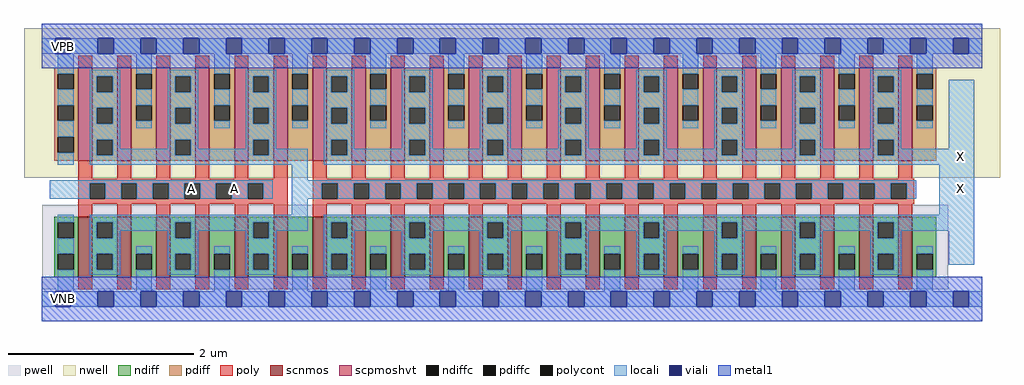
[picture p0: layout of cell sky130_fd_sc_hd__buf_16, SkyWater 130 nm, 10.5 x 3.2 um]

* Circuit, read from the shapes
.subckt sky130_fd_sc_hd__buf_16 VNB VPB VGND VPWR A X
XM1 n1 A VGND VNB sky130_fd_pr__nfet_01v8 w=0.65 l=0.15 m=6
XM2 X n1 VGND VNB sky130_fd_pr__nfet_01v8 w=0.65 l=0.15 m=16
XM3 n1 A VPWR VPB sky130_fd_pr__pfet_01v8_hvt w=1 l=0.15 m=6
XM4 X n1 VPWR VPB sky130_fd_pr__pfet_01v8_hvt w=1 l=0.15 m=16
.ends

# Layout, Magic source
magic
tech sky130A
magscale 1 2
<< nwell >>
rect -38 261 2062 582
<< pwell >>
rect 1 21 1951 203
rect 30 -17 64 21
<< scnmos >>
rect 79 47 109 177
rect 163 47 193 177
rect 247 47 277 177
rect 331 47 361 177
rect 415 47 445 177
rect 499 47 529 177
rect 583 47 613 177
rect 667 47 697 177
rect 751 47 781 177
rect 835 47 865 177
rect 919 47 949 177
rect 1003 47 1033 177
rect 1087 47 1117 177
rect 1171 47 1201 177
rect 1255 47 1285 177
rect 1339 47 1369 177
rect 1423 47 1453 177
rect 1507 47 1537 177
rect 1591 47 1621 177
rect 1675 47 1705 177
rect 1759 47 1789 177
rect 1843 47 1873 177
<< scpmoshvt >>
rect 79 297 109 497
rect 163 297 193 497
rect 247 297 277 497
rect 331 297 361 497
rect 415 297 445 497
rect 499 297 529 497
rect 583 297 613 497
rect 667 297 697 497
rect 751 297 781 497
rect 835 297 865 497
rect 919 297 949 497
rect 1003 297 1033 497
rect 1087 297 1117 497
rect 1171 297 1201 497
rect 1255 297 1285 497
rect 1339 297 1369 497
rect 1423 297 1453 497
rect 1507 297 1537 497
rect 1591 297 1621 497
rect 1675 297 1705 497
rect 1759 297 1789 497
rect 1843 297 1873 497
<< ndiff >>
rect 27 165 79 177
rect 27 131 35 165
rect 69 131 79 165
rect 27 97 79 131
rect 27 63 35 97
rect 69 63 79 97
rect 27 47 79 63
rect 109 165 163 177
rect 109 131 119 165
rect 153 131 163 165
rect 109 97 163 131
rect 109 63 119 97
rect 153 63 163 97
rect 109 47 163 63
rect 193 97 247 177
rect 193 63 203 97
rect 237 63 247 97
rect 193 47 247 63
rect 277 165 331 177
rect 277 131 287 165
rect 321 131 331 165
rect 277 97 331 131
rect 277 63 287 97
rect 321 63 331 97
rect 277 47 331 63
rect 361 97 415 177
rect 361 63 371 97
rect 405 63 415 97
rect 361 47 415 63
rect 445 165 499 177
rect 445 131 455 165
rect 489 131 499 165
rect 445 97 499 131
rect 445 63 455 97
rect 489 63 499 97
rect 445 47 499 63
rect 529 97 583 177
rect 529 63 539 97
rect 573 63 583 97
rect 529 47 583 63
rect 613 165 667 177
rect 613 131 623 165
rect 657 131 667 165
rect 613 97 667 131
rect 613 63 623 97
rect 657 63 667 97
rect 613 47 667 63
rect 697 97 751 177
rect 697 63 707 97
rect 741 63 751 97
rect 697 47 751 63
rect 781 165 835 177
rect 781 131 791 165
rect 825 131 835 165
rect 781 97 835 131
rect 781 63 791 97
rect 825 63 835 97
rect 781 47 835 63
rect 865 97 919 177
rect 865 63 875 97
rect 909 63 919 97
rect 865 47 919 63
rect 949 165 1003 177
rect 949 131 959 165
rect 993 131 1003 165
rect 949 97 1003 131
rect 949 63 959 97
rect 993 63 1003 97
rect 949 47 1003 63
rect 1033 97 1087 177
rect 1033 63 1043 97
rect 1077 63 1087 97
rect 1033 47 1087 63
rect 1117 165 1171 177
rect 1117 131 1127 165
rect 1161 131 1171 165
rect 1117 97 1171 131
rect 1117 63 1127 97
rect 1161 63 1171 97
rect 1117 47 1171 63
rect 1201 97 1255 177
rect 1201 63 1211 97
rect 1245 63 1255 97
rect 1201 47 1255 63
rect 1285 165 1339 177
rect 1285 131 1295 165
rect 1329 131 1339 165
rect 1285 97 1339 131
rect 1285 63 1295 97
rect 1329 63 1339 97
rect 1285 47 1339 63
rect 1369 97 1423 177
rect 1369 63 1379 97
rect 1413 63 1423 97
rect 1369 47 1423 63
rect 1453 165 1507 177
rect 1453 131 1463 165
rect 1497 131 1507 165
rect 1453 97 1507 131
rect 1453 63 1463 97
rect 1497 63 1507 97
rect 1453 47 1507 63
rect 1537 97 1591 177
rect 1537 63 1547 97
rect 1581 63 1591 97
rect 1537 47 1591 63
rect 1621 165 1675 177
rect 1621 131 1631 165
rect 1665 131 1675 165
rect 1621 97 1675 131
rect 1621 63 1631 97
rect 1665 63 1675 97
rect 1621 47 1675 63
rect 1705 97 1759 177
rect 1705 63 1715 97
rect 1749 63 1759 97
rect 1705 47 1759 63
rect 1789 165 1843 177
rect 1789 131 1799 165
rect 1833 131 1843 165
rect 1789 97 1843 131
rect 1789 63 1799 97
rect 1833 63 1843 97
rect 1789 47 1843 63
rect 1873 97 1925 177
rect 1873 63 1883 97
rect 1917 63 1925 97
rect 1873 47 1925 63
<< pdiff >>
rect 27 485 79 497
rect 27 451 35 485
rect 69 451 79 485
rect 27 417 79 451
rect 27 383 35 417
rect 69 383 79 417
rect 27 349 79 383
rect 27 315 35 349
rect 69 315 79 349
rect 27 297 79 315
rect 109 479 163 497
rect 109 445 119 479
rect 153 445 163 479
rect 109 411 163 445
rect 109 377 119 411
rect 153 377 163 411
rect 109 343 163 377
rect 109 309 119 343
rect 153 309 163 343
rect 109 297 163 309
rect 193 485 247 497
rect 193 451 203 485
rect 237 451 247 485
rect 193 417 247 451
rect 193 383 203 417
rect 237 383 247 417
rect 193 297 247 383
rect 277 479 331 497
rect 277 445 287 479
rect 321 445 331 479
rect 277 411 331 445
rect 277 377 287 411
rect 321 377 331 411
rect 277 343 331 377
rect 277 309 287 343
rect 321 309 331 343
rect 277 297 331 309
rect 361 485 415 497
rect 361 451 371 485
rect 405 451 415 485
rect 361 417 415 451
rect 361 383 371 417
rect 405 383 415 417
rect 361 297 415 383
rect 445 479 499 497
rect 445 445 455 479
rect 489 445 499 479
rect 445 411 499 445
rect 445 377 455 411
rect 489 377 499 411
rect 445 343 499 377
rect 445 309 455 343
rect 489 309 499 343
rect 445 297 499 309
rect 529 485 583 497
rect 529 451 539 485
rect 573 451 583 485
rect 529 417 583 451
rect 529 383 539 417
rect 573 383 583 417
rect 529 297 583 383
rect 613 479 667 497
rect 613 445 623 479
rect 657 445 667 479
rect 613 411 667 445
rect 613 377 623 411
rect 657 377 667 411
rect 613 343 667 377
rect 613 309 623 343
rect 657 309 667 343
rect 613 297 667 309
rect 697 485 751 497
rect 697 451 707 485
rect 741 451 751 485
rect 697 417 751 451
rect 697 383 707 417
rect 741 383 751 417
rect 697 297 751 383
rect 781 479 835 497
rect 781 445 791 479
rect 825 445 835 479
rect 781 411 835 445
rect 781 377 791 411
rect 825 377 835 411
rect 781 343 835 377
rect 781 309 791 343
rect 825 309 835 343
rect 781 297 835 309
rect 865 485 919 497
rect 865 451 875 485
rect 909 451 919 485
rect 865 417 919 451
rect 865 383 875 417
rect 909 383 919 417
rect 865 297 919 383
rect 949 479 1003 497
rect 949 445 959 479
rect 993 445 1003 479
rect 949 411 1003 445
rect 949 377 959 411
rect 993 377 1003 411
rect 949 343 1003 377
rect 949 309 959 343
rect 993 309 1003 343
rect 949 297 1003 309
rect 1033 485 1087 497
rect 1033 451 1043 485
rect 1077 451 1087 485
rect 1033 417 1087 451
rect 1033 383 1043 417
rect 1077 383 1087 417
rect 1033 297 1087 383
rect 1117 479 1171 497
rect 1117 445 1127 479
rect 1161 445 1171 479
rect 1117 411 1171 445
rect 1117 377 1127 411
rect 1161 377 1171 411
rect 1117 343 1171 377
rect 1117 309 1127 343
rect 1161 309 1171 343
rect 1117 297 1171 309
rect 1201 485 1255 497
rect 1201 451 1211 485
rect 1245 451 1255 485
rect 1201 417 1255 451
rect 1201 383 1211 417
rect 1245 383 1255 417
rect 1201 297 1255 383
rect 1285 479 1339 497
rect 1285 445 1295 479
rect 1329 445 1339 479
rect 1285 411 1339 445
rect 1285 377 1295 411
rect 1329 377 1339 411
rect 1285 343 1339 377
rect 1285 309 1295 343
rect 1329 309 1339 343
rect 1285 297 1339 309
rect 1369 485 1423 497
rect 1369 451 1379 485
rect 1413 451 1423 485
rect 1369 417 1423 451
rect 1369 383 1379 417
rect 1413 383 1423 417
rect 1369 297 1423 383
rect 1453 479 1507 497
rect 1453 445 1463 479
rect 1497 445 1507 479
rect 1453 411 1507 445
rect 1453 377 1463 411
rect 1497 377 1507 411
rect 1453 343 1507 377
rect 1453 309 1463 343
rect 1497 309 1507 343
rect 1453 297 1507 309
rect 1537 485 1591 497
rect 1537 451 1547 485
rect 1581 451 1591 485
rect 1537 417 1591 451
rect 1537 383 1547 417
rect 1581 383 1591 417
rect 1537 297 1591 383
rect 1621 479 1675 497
rect 1621 445 1631 479
rect 1665 445 1675 479
rect 1621 411 1675 445
rect 1621 377 1631 411
rect 1665 377 1675 411
rect 1621 343 1675 377
rect 1621 309 1631 343
rect 1665 309 1675 343
rect 1621 297 1675 309
rect 1705 485 1759 497
rect 1705 451 1715 485
rect 1749 451 1759 485
rect 1705 417 1759 451
rect 1705 383 1715 417
rect 1749 383 1759 417
rect 1705 297 1759 383
rect 1789 479 1843 497
rect 1789 445 1799 479
rect 1833 445 1843 479
rect 1789 411 1843 445
rect 1789 377 1799 411
rect 1833 377 1843 411
rect 1789 343 1843 377
rect 1789 309 1799 343
rect 1833 309 1843 343
rect 1789 297 1843 309
rect 1873 485 1925 497
rect 1873 451 1883 485
rect 1917 451 1925 485
rect 1873 417 1925 451
rect 1873 383 1883 417
rect 1917 383 1925 417
rect 1873 297 1925 383
<< ndiffc >>
rect 35 131 69 165
rect 35 63 69 97
rect 119 131 153 165
rect 119 63 153 97
rect 203 63 237 97
rect 287 131 321 165
rect 287 63 321 97
rect 371 63 405 97
rect 455 131 489 165
rect 455 63 489 97
rect 539 63 573 97
rect 623 131 657 165
rect 623 63 657 97
rect 707 63 741 97
rect 791 131 825 165
rect 791 63 825 97
rect 875 63 909 97
rect 959 131 993 165
rect 959 63 993 97
rect 1043 63 1077 97
rect 1127 131 1161 165
rect 1127 63 1161 97
rect 1211 63 1245 97
rect 1295 131 1329 165
rect 1295 63 1329 97
rect 1379 63 1413 97
rect 1463 131 1497 165
rect 1463 63 1497 97
rect 1547 63 1581 97
rect 1631 131 1665 165
rect 1631 63 1665 97
rect 1715 63 1749 97
rect 1799 131 1833 165
rect 1799 63 1833 97
rect 1883 63 1917 97
<< pdiffc >>
rect 35 451 69 485
rect 35 383 69 417
rect 35 315 69 349
rect 119 445 153 479
rect 119 377 153 411
rect 119 309 153 343
rect 203 451 237 485
rect 203 383 237 417
rect 287 445 321 479
rect 287 377 321 411
rect 287 309 321 343
rect 371 451 405 485
rect 371 383 405 417
rect 455 445 489 479
rect 455 377 489 411
rect 455 309 489 343
rect 539 451 573 485
rect 539 383 573 417
rect 623 445 657 479
rect 623 377 657 411
rect 623 309 657 343
rect 707 451 741 485
rect 707 383 741 417
rect 791 445 825 479
rect 791 377 825 411
rect 791 309 825 343
rect 875 451 909 485
rect 875 383 909 417
rect 959 445 993 479
rect 959 377 993 411
rect 959 309 993 343
rect 1043 451 1077 485
rect 1043 383 1077 417
rect 1127 445 1161 479
rect 1127 377 1161 411
rect 1127 309 1161 343
rect 1211 451 1245 485
rect 1211 383 1245 417
rect 1295 445 1329 479
rect 1295 377 1329 411
rect 1295 309 1329 343
rect 1379 451 1413 485
rect 1379 383 1413 417
rect 1463 445 1497 479
rect 1463 377 1497 411
rect 1463 309 1497 343
rect 1547 451 1581 485
rect 1547 383 1581 417
rect 1631 445 1665 479
rect 1631 377 1665 411
rect 1631 309 1665 343
rect 1715 451 1749 485
rect 1715 383 1749 417
rect 1799 445 1833 479
rect 1799 377 1833 411
rect 1799 309 1833 343
rect 1883 451 1917 485
rect 1883 383 1917 417
<< poly >>
rect 79 497 109 523
rect 163 497 193 523
rect 247 497 277 523
rect 331 497 361 523
rect 415 497 445 523
rect 499 497 529 523
rect 583 497 613 523
rect 667 497 697 523
rect 751 497 781 523
rect 835 497 865 523
rect 919 497 949 523
rect 1003 497 1033 523
rect 1087 497 1117 523
rect 1171 497 1201 523
rect 1255 497 1285 523
rect 1339 497 1369 523
rect 1423 497 1453 523
rect 1507 497 1537 523
rect 1591 497 1621 523
rect 1675 497 1705 523
rect 1759 497 1789 523
rect 1843 497 1873 523
rect 79 259 109 297
rect 163 259 193 297
rect 247 259 277 297
rect 331 259 361 297
rect 415 259 445 297
rect 499 259 529 297
rect 79 249 529 259
rect 79 215 103 249
rect 137 215 171 249
rect 205 215 239 249
rect 273 215 307 249
rect 341 215 375 249
rect 409 215 443 249
rect 477 215 529 249
rect 79 205 529 215
rect 79 177 109 205
rect 163 177 193 205
rect 247 177 277 205
rect 331 177 361 205
rect 415 177 445 205
rect 499 177 529 205
rect 583 259 613 297
rect 667 259 697 297
rect 751 259 781 297
rect 835 259 865 297
rect 919 259 949 297
rect 1003 259 1033 297
rect 1087 259 1117 297
rect 1171 259 1201 297
rect 1255 259 1285 297
rect 1339 259 1369 297
rect 1423 259 1453 297
rect 1507 259 1537 297
rect 1591 259 1621 297
rect 1675 259 1705 297
rect 1759 259 1789 297
rect 1843 259 1873 297
rect 583 249 1877 259
rect 583 215 603 249
rect 637 215 671 249
rect 705 215 739 249
rect 773 215 807 249
rect 841 215 875 249
rect 909 215 943 249
rect 977 215 1011 249
rect 1045 215 1079 249
rect 1113 215 1147 249
rect 1181 215 1215 249
rect 1249 215 1283 249
rect 1317 215 1351 249
rect 1385 215 1419 249
rect 1453 215 1487 249
rect 1521 215 1555 249
rect 1589 215 1623 249
rect 1657 215 1691 249
rect 1725 215 1759 249
rect 1793 215 1827 249
rect 1861 215 1877 249
rect 583 205 1877 215
rect 583 177 613 205
rect 667 177 697 205
rect 751 177 781 205
rect 835 177 865 205
rect 919 177 949 205
rect 1003 177 1033 205
rect 1087 177 1117 205
rect 1171 177 1201 205
rect 1255 177 1285 205
rect 1339 177 1369 205
rect 1423 177 1453 205
rect 1507 177 1537 205
rect 1591 177 1621 205
rect 1675 177 1705 205
rect 1759 177 1789 205
rect 1843 177 1873 205
rect 79 21 109 47
rect 163 21 193 47
rect 247 21 277 47
rect 331 21 361 47
rect 415 21 445 47
rect 499 21 529 47
rect 583 21 613 47
rect 667 21 697 47
rect 751 21 781 47
rect 835 21 865 47
rect 919 21 949 47
rect 1003 21 1033 47
rect 1087 21 1117 47
rect 1171 21 1201 47
rect 1255 21 1285 47
rect 1339 21 1369 47
rect 1423 21 1453 47
rect 1507 21 1537 47
rect 1591 21 1621 47
rect 1675 21 1705 47
rect 1759 21 1789 47
rect 1843 21 1873 47
<< polycont >>
rect 103 215 137 249
rect 171 215 205 249
rect 239 215 273 249
rect 307 215 341 249
rect 375 215 409 249
rect 443 215 477 249
rect 603 215 637 249
rect 671 215 705 249
rect 739 215 773 249
rect 807 215 841 249
rect 875 215 909 249
rect 943 215 977 249
rect 1011 215 1045 249
rect 1079 215 1113 249
rect 1147 215 1181 249
rect 1215 215 1249 249
rect 1283 215 1317 249
rect 1351 215 1385 249
rect 1419 215 1453 249
rect 1487 215 1521 249
rect 1555 215 1589 249
rect 1623 215 1657 249
rect 1691 215 1725 249
rect 1759 215 1793 249
rect 1827 215 1861 249
<< locali >>
rect 0 527 29 561
rect 63 527 121 561
rect 155 527 213 561
rect 247 527 305 561
rect 339 527 397 561
rect 431 527 489 561
rect 523 527 581 561
rect 615 527 673 561
rect 707 527 765 561
rect 799 527 857 561
rect 891 527 949 561
rect 983 527 1041 561
rect 1075 527 1133 561
rect 1167 527 1225 561
rect 1259 527 1317 561
rect 1351 527 1409 561
rect 1443 527 1501 561
rect 1535 527 1593 561
rect 1627 527 1685 561
rect 1719 527 1777 561
rect 1811 527 1869 561
rect 1903 527 1961 561
rect 1995 527 2024 561
rect 35 485 69 527
rect 35 417 69 451
rect 35 349 69 383
rect 35 289 69 315
rect 103 479 169 493
rect 103 445 119 479
rect 153 445 169 479
rect 103 411 169 445
rect 103 377 119 411
rect 153 377 169 411
rect 103 343 169 377
rect 203 485 237 527
rect 203 417 237 451
rect 203 367 237 383
rect 271 479 337 493
rect 271 445 287 479
rect 321 445 337 479
rect 271 411 337 445
rect 271 377 287 411
rect 321 377 337 411
rect 103 309 119 343
rect 153 323 169 343
rect 271 343 337 377
rect 371 485 405 527
rect 371 417 405 451
rect 371 367 405 383
rect 439 479 505 493
rect 439 445 455 479
rect 489 445 505 479
rect 439 411 505 445
rect 439 377 455 411
rect 489 377 505 411
rect 271 323 287 343
rect 153 309 287 323
rect 321 323 337 343
rect 439 343 505 377
rect 539 485 573 527
rect 539 417 573 451
rect 539 367 573 383
rect 607 479 673 493
rect 607 445 623 479
rect 657 445 673 479
rect 607 411 673 445
rect 607 377 623 411
rect 657 377 673 411
rect 439 323 455 343
rect 321 309 455 323
rect 489 323 505 343
rect 607 343 673 377
rect 707 485 741 527
rect 707 417 741 451
rect 707 367 741 383
rect 775 479 841 493
rect 775 445 791 479
rect 825 445 841 479
rect 775 411 841 445
rect 775 377 791 411
rect 825 377 841 411
rect 489 309 573 323
rect 103 289 573 309
rect 607 309 623 343
rect 657 323 673 343
rect 775 343 841 377
rect 875 485 909 527
rect 875 417 909 451
rect 875 367 909 383
rect 943 479 1009 493
rect 943 445 959 479
rect 993 445 1009 479
rect 943 411 1009 445
rect 943 377 959 411
rect 993 377 1009 411
rect 775 323 791 343
rect 657 309 791 323
rect 825 323 841 343
rect 943 343 1009 377
rect 1043 485 1077 527
rect 1043 417 1077 451
rect 1043 367 1077 383
rect 1111 479 1177 493
rect 1111 445 1127 479
rect 1161 445 1177 479
rect 1111 411 1177 445
rect 1111 377 1127 411
rect 1161 377 1177 411
rect 943 323 959 343
rect 825 309 959 323
rect 993 323 1009 343
rect 1111 343 1177 377
rect 1211 485 1245 527
rect 1211 417 1245 451
rect 1211 367 1245 383
rect 1279 479 1345 493
rect 1279 445 1295 479
rect 1329 445 1345 479
rect 1279 411 1345 445
rect 1279 377 1295 411
rect 1329 377 1345 411
rect 1111 323 1127 343
rect 993 309 1127 323
rect 1161 323 1177 343
rect 1279 343 1345 377
rect 1379 485 1413 527
rect 1379 417 1413 451
rect 1379 367 1413 383
rect 1447 479 1513 493
rect 1447 445 1463 479
rect 1497 445 1513 479
rect 1447 411 1513 445
rect 1447 377 1463 411
rect 1497 377 1513 411
rect 1279 323 1295 343
rect 1161 309 1295 323
rect 1329 323 1345 343
rect 1447 343 1513 377
rect 1547 485 1581 527
rect 1547 417 1581 451
rect 1547 367 1581 383
rect 1615 479 1681 493
rect 1615 445 1631 479
rect 1665 445 1681 479
rect 1615 411 1681 445
rect 1615 377 1631 411
rect 1665 377 1681 411
rect 1447 323 1463 343
rect 1329 309 1463 323
rect 1497 323 1513 343
rect 1615 343 1681 377
rect 1715 485 1749 527
rect 1715 417 1749 451
rect 1715 367 1749 383
rect 1783 479 1849 493
rect 1783 445 1799 479
rect 1833 445 1849 479
rect 1783 411 1849 445
rect 1783 377 1799 411
rect 1833 377 1849 411
rect 1615 323 1631 343
rect 1497 309 1631 323
rect 1665 323 1681 343
rect 1783 343 1849 377
rect 1883 485 1917 527
rect 1883 417 1917 451
rect 1883 367 1917 383
rect 1783 323 1799 343
rect 1665 309 1799 323
rect 1833 323 1849 343
rect 1952 323 2007 472
rect 1833 309 2007 323
rect 607 289 2007 309
rect 538 255 573 289
rect 17 249 497 255
rect 17 215 103 249
rect 137 215 171 249
rect 205 215 239 249
rect 273 215 307 249
rect 341 215 375 249
rect 409 215 443 249
rect 477 215 497 249
rect 538 249 1882 255
rect 538 215 603 249
rect 637 215 671 249
rect 705 215 739 249
rect 773 215 807 249
rect 841 215 875 249
rect 909 215 943 249
rect 977 215 1011 249
rect 1045 215 1079 249
rect 1113 215 1147 249
rect 1181 215 1215 249
rect 1249 215 1283 249
rect 1317 215 1351 249
rect 1385 215 1419 249
rect 1453 215 1487 249
rect 1521 215 1555 249
rect 1589 215 1623 249
rect 1657 215 1691 249
rect 1725 215 1759 249
rect 1793 215 1827 249
rect 1861 215 1882 249
rect 538 181 573 215
rect 1931 181 2007 289
rect 35 165 69 181
rect 35 97 69 131
rect 35 17 69 63
rect 103 165 573 181
rect 103 131 119 165
rect 153 147 287 165
rect 153 131 169 147
rect 103 97 169 131
rect 271 131 287 147
rect 321 147 455 165
rect 321 131 337 147
rect 103 63 119 97
rect 153 63 169 97
rect 103 52 169 63
rect 203 97 237 113
rect 203 17 237 63
rect 271 97 337 131
rect 439 131 455 147
rect 489 147 573 165
rect 607 165 2007 181
rect 489 131 505 147
rect 271 63 287 97
rect 321 63 337 97
rect 271 52 337 63
rect 371 97 405 113
rect 371 17 405 63
rect 439 97 505 131
rect 607 131 623 165
rect 657 147 791 165
rect 657 131 673 147
rect 439 63 455 97
rect 489 63 505 97
rect 439 52 505 63
rect 539 97 573 113
rect 539 17 573 63
rect 607 97 673 131
rect 775 131 791 147
rect 825 147 959 165
rect 825 131 841 147
rect 607 63 623 97
rect 657 63 673 97
rect 607 52 673 63
rect 707 97 741 113
rect 607 51 657 52
rect 707 17 741 63
rect 775 97 841 131
rect 943 131 959 147
rect 993 147 1127 165
rect 993 131 1009 147
rect 775 63 791 97
rect 825 63 841 97
rect 775 52 841 63
rect 875 97 909 113
rect 791 51 825 52
rect 875 17 909 63
rect 943 97 1009 131
rect 1111 131 1127 147
rect 1161 147 1295 165
rect 1161 131 1177 147
rect 943 63 959 97
rect 993 63 1009 97
rect 943 52 1009 63
rect 1043 97 1077 113
rect 959 51 993 52
rect 1043 17 1077 63
rect 1111 97 1177 131
rect 1279 131 1295 147
rect 1329 147 1463 165
rect 1329 131 1345 147
rect 1111 63 1127 97
rect 1161 63 1177 97
rect 1111 52 1177 63
rect 1211 97 1245 113
rect 1211 17 1245 63
rect 1279 97 1345 131
rect 1447 131 1463 147
rect 1497 147 1631 165
rect 1497 131 1513 147
rect 1279 63 1295 97
rect 1329 63 1345 97
rect 1279 52 1345 63
rect 1379 97 1413 113
rect 1379 17 1413 63
rect 1447 97 1513 131
rect 1615 131 1631 147
rect 1665 147 1799 165
rect 1665 131 1681 147
rect 1447 63 1463 97
rect 1497 63 1513 97
rect 1447 52 1513 63
rect 1547 97 1581 113
rect 1547 17 1581 63
rect 1615 97 1681 131
rect 1783 131 1799 147
rect 1833 147 2007 165
rect 1833 131 1849 147
rect 1615 63 1631 97
rect 1665 63 1681 97
rect 1615 52 1681 63
rect 1715 97 1749 113
rect 1715 17 1749 63
rect 1783 97 1849 131
rect 1783 63 1799 97
rect 1833 63 1849 97
rect 1783 52 1849 63
rect 1883 97 1917 113
rect 1952 73 2007 147
rect 1883 17 1917 63
rect 0 -17 29 17
rect 63 -17 121 17
rect 155 -17 213 17
rect 247 -17 305 17
rect 339 -17 397 17
rect 431 -17 489 17
rect 523 -17 581 17
rect 615 -17 673 17
rect 707 -17 765 17
rect 799 -17 857 17
rect 891 -17 949 17
rect 983 -17 1041 17
rect 1075 -17 1133 17
rect 1167 -17 1225 17
rect 1259 -17 1317 17
rect 1351 -17 1409 17
rect 1443 -17 1501 17
rect 1535 -17 1593 17
rect 1627 -17 1685 17
rect 1719 -17 1777 17
rect 1811 -17 1869 17
rect 1903 -17 1961 17
rect 1995 -17 2024 17
<< viali >>
rect 29 527 63 561
rect 121 527 155 561
rect 213 527 247 561
rect 305 527 339 561
rect 397 527 431 561
rect 489 527 523 561
rect 581 527 615 561
rect 673 527 707 561
rect 765 527 799 561
rect 857 527 891 561
rect 949 527 983 561
rect 1041 527 1075 561
rect 1133 527 1167 561
rect 1225 527 1259 561
rect 1317 527 1351 561
rect 1409 527 1443 561
rect 1501 527 1535 561
rect 1593 527 1627 561
rect 1685 527 1719 561
rect 1777 527 1811 561
rect 1869 527 1903 561
rect 1961 527 1995 561
rect 29 -17 63 17
rect 121 -17 155 17
rect 213 -17 247 17
rect 305 -17 339 17
rect 397 -17 431 17
rect 489 -17 523 17
rect 581 -17 615 17
rect 673 -17 707 17
rect 765 -17 799 17
rect 857 -17 891 17
rect 949 -17 983 17
rect 1041 -17 1075 17
rect 1133 -17 1167 17
rect 1225 -17 1259 17
rect 1317 -17 1351 17
rect 1409 -17 1443 17
rect 1501 -17 1535 17
rect 1593 -17 1627 17
rect 1685 -17 1719 17
rect 1777 -17 1811 17
rect 1869 -17 1903 17
rect 1961 -17 1995 17
<< metal1 >>
rect 0 561 2024 592
rect 0 527 29 561
rect 63 527 121 561
rect 155 527 213 561
rect 247 527 305 561
rect 339 527 397 561
rect 431 527 489 561
rect 523 527 581 561
rect 615 527 673 561
rect 707 527 765 561
rect 799 527 857 561
rect 891 527 949 561
rect 983 527 1041 561
rect 1075 527 1133 561
rect 1167 527 1225 561
rect 1259 527 1317 561
rect 1351 527 1409 561
rect 1443 527 1501 561
rect 1535 527 1593 561
rect 1627 527 1685 561
rect 1719 527 1777 561
rect 1811 527 1869 561
rect 1903 527 1961 561
rect 1995 527 2024 561
rect 0 496 2024 527
rect 0 17 2024 48
rect 0 -17 29 17
rect 63 -17 121 17
rect 155 -17 213 17
rect 247 -17 305 17
rect 339 -17 397 17
rect 431 -17 489 17
rect 523 -17 581 17
rect 615 -17 673 17
rect 707 -17 765 17
rect 799 -17 857 17
rect 891 -17 949 17
rect 983 -17 1041 17
rect 1075 -17 1133 17
rect 1167 -17 1225 17
rect 1259 -17 1317 17
rect 1351 -17 1409 17
rect 1443 -17 1501 17
rect 1535 -17 1593 17
rect 1627 -17 1685 17
rect 1719 -17 1777 17
rect 1811 -17 1869 17
rect 1903 -17 1961 17
rect 1995 -17 2024 17
rect 0 -48 2024 -17
<< labels >>
flabel locali s 398 221 432 255 0 FreeSans 200 0 0 0 A
port 6 nsew
flabel locali s 306 221 340 255 0 FreeSans 200 0 0 0 A
port 6 nsew
flabel locali s 1961 221 1995 255 0 FreeSans 200 0 0 0 X
port 7 nsew
flabel locali s 1961 289 1995 323 0 FreeSans 200 0 0 0 X
port 7 nsew
flabel pwell s 30 -17 64 17 0 FreeSans 200 0 0 0 VNB
port 2 nsew
flabel nwell s 30 527 64 561 0 FreeSans 200 0 0 0 VPB
port 3 nsew
flabel metal1 s 30 -17 64 17 0 FreeSans 200 0 0 0 VGND
port 4 nsew
flabel metal1 s 30 527 64 561 0 FreeSans 200 0 0 0 VPWR
port 5 nsew
rlabel comment s 0 0 0 0 4 buf_16
<< properties >>
string FIXED_BBOX 0 0 2024 544
string path 0.000 2.720 10.120 2.720 
<< end >>
